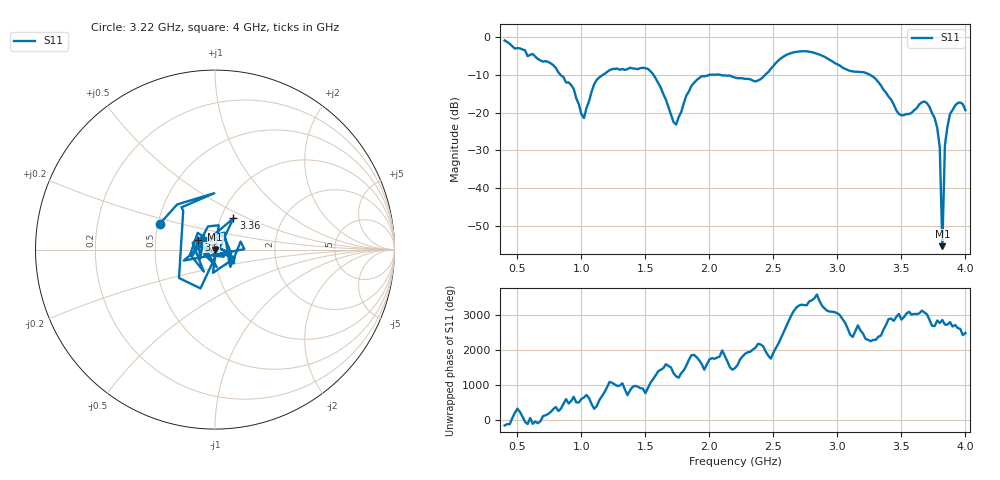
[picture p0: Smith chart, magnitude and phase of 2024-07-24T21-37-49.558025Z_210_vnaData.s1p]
!Created with skrf (http://scikit-rf.org).
# Hz S RI R 50.0
!freq ReS11 ImS11
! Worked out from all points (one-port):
!   181 points, 400 MHz to 4 GHz, reference 50 ohm
!   lowest |S11| = -55.4 dB at 3.82 GHz (marker M1), VSWR 1.00, Z = 50.2 - j0.0708 ohm
!   |S11| at or under -10 dB: 838.2 MHz to 1.165 GHz (326.7 MHz wide, 32.6 % of centre); 1.564 GHz to 1.995 GHz (430.1 MHz wide, 24.2 % of centre); 3.257 GHz to end of sweep (the widest 3 of 4)
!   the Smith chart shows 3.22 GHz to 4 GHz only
!   S11 on the Smith chart (normalised r, x): 3.22 GHz: 0.51, +0.17; 3.36 GHz: 1.15, +0.42; 3.6 GHz: 0.82, +0.09; 4 GHz: 1.19, -0.15
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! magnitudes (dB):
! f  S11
! 400 MHz  -0.8
! 860 MHz  -10.5
! 940 MHz  -13.7
! 1.02 GHz  -21.4
! 1.12 GHz  -11.2
! 1.3 GHz  -8.6
! 1.52 GHz  -8.4
! 1.72 GHz  -22.5
! 1.76 GHz  -21.1
! 1.86 GHz  -12.9
! 1.94 GHz  -10.3
! 2.2 GHz  -10.7
! 2.38 GHz  -11.4
! 2.66 GHz  -3.9
! 3.1 GHz  -8.9
! 3.22 GHz  -9.4
! 3.36 GHz  -13.9
! 3.48 GHz  -20.3
! 3.56 GHz  -20.3
! 3.6 GHz  -19.3
! 3.7 GHz  -17.4
! 3.78 GHz  -24.0
! 3.8 GHz  -29.3
! 3.82 GHz  -55.4
! 3.84 GHz  -28.6
! 3.86 GHz  -23.6
! 3.94 GHz  -17.4
! 4 GHz  -19.3
